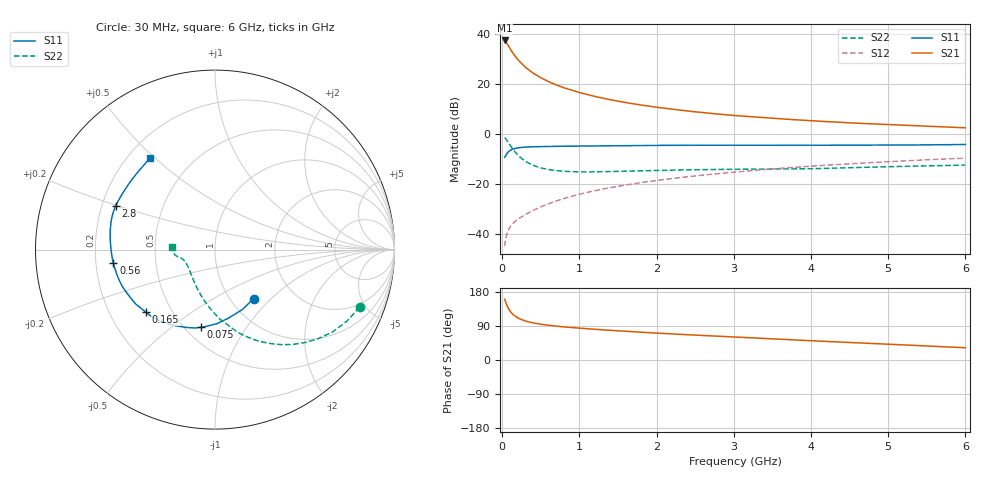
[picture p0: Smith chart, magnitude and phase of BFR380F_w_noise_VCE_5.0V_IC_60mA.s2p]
! Infineon Technologies  Discrete & RF Semiconductors
! BFR380F
! VCE =  5.0 V,  IC =  60 mA
! Common Emitter S-Parameters:  Nov 2015
# GHz  S  MA  R  50
!  f  S11  S21  S12  S22
! GHz  MAG  ANG  MAG  ANG  MAG  ANG  MAG  ANG
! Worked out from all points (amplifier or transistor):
!   206 points, 30 MHz to 6 GHz, reference 50 ohm
!   highest |S21| = 37.5 dB at 30 MHz (marker M1)
!   |S21| within 3 dB of that: start of sweep to 95.02 MHz
!   unconditionally stable (mu >= 1): 822.3 MHz to 4.817 GHz
!   at 200 MHz: K = 0.64, MSG = 32.0 dB, |S12| = -34.0 dB
!   at 1.56 GHz: K = 1.04, MAG = 15.5 dB, |S12| = -20.5 dB
!   at 6 GHz: K = 0.98, MSG = 6.1 dB, |S12| = -9.5 dB
!   lowest NFmin = 1.67 dB at 900 MHz
!   S11 on the Smith chart (normalised r, x): 30 MHz: 1.27, -0.79; 75 MHz: 0.60, -0.64; 165 MHz: 0.36, -0.34; 560 MHz: 0.27, -0.06; 2.8 GHz: 0.26, +0.20; 6 GHz: 0.29, +0.49
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0.03  0.3472 -51.7  75.19 160.2  0.0058 76.7  0.8674 -21.7
0.05  0.388 -78.4  69.03 148.6  0.009 69.7  0.7997 -35.0
0.07  0.4313 -96.8  61.65 139.4  0.0113 65.2  0.7192 -46.1
0.075  0.4398 -100.5  59.91 137.7  0.0118 64.1  0.6994 -48.5
0.095  0.4673 -113.0  53.23 130.8  0.0136 60.6  0.6261 -57.2
0.12  0.4933 -124.7  46.17 124.1  0.0155 58.2  0.5479 -66.4
0.15  0.5153 -134.5  39.46 118.0  0.0174 57.1  0.4738 -75.1
0.165  0.5194 -137.9  36.95 116.2  0.0181 57.3  0.4459 -78.0
0.2  0.5362 -145.7  31.26 110.9  0.0199 57.6  0.3864 -86.3
0.26  0.548 -154.1  25.02 105.7  0.0229 59.4  0.3201 -96.3
0.3  0.5556 -158.2  21.87 102.7  0.0249 60.7  0.2885 -102.3
0.4  0.5636 -165.4  16.69 97.8  0.0301 63.8  0.24 -114.0
0.56  0.5712 -172.3  12.15 92.8  0.0387 67.2  0.2029 -127.6
0.8  0.578 -178.9  8.502 87.3  0.0521 70.2  0.1819 -141.8
1.04  0.5834 176.6  6.581 83.4  0.0656 71.5  0.1772 -150.5
1.4  0.5916 171.1  4.902 78.3  0.0859 72.0  0.1801 -158.6
2.02  0.6007 163.7  3.44 70.8  0.1206 71.1  0.1896 -164.2
2.8  0.6053 156.2  2.534 62.5  0.1637 68.8  0.1988 -167.5
3.1  0.6037 153.5  2.32 59.7  0.1804 67.7  0.2002 -167.7
4.1  0.6034 143.8  1.83 49.9  0.2358 63.2  0.2067 -168.0
5.1  0.6095 134.8  1.541 40.8  0.2888 58.3  0.2267 -173.2
6  0.6263 125.1  1.35 32.3  0.3331 53.0  0.2424 176.4
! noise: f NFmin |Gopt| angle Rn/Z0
0.45  1.68  0.45  -175  0.08
0.9  1.67  0.47  -173  0.07
1.8  1.88  0.51  -161  0.1
1.9  1.99  0.51  -161  0.1
2.4  2.04  0.52  -152  0.13
3.5  2.67  0.55  -142  0.23
